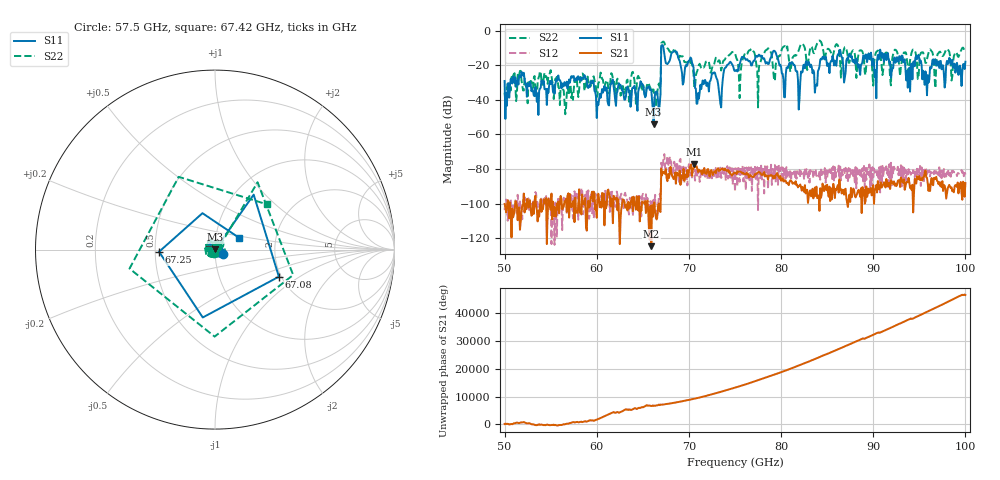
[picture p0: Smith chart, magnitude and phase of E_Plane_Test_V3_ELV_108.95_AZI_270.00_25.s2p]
! 11/26/2026 4:15:56 PM
! C:\ANRITSUVNA\TEMP\TEMP.S2P
! CHANNEL.1
! TR.MEASUREMENT
! RAW.DATA
# HZ S RI R 50.0
! FREQ.HZ  S11RE  S11IM  S21RE  S21IM  S12RE  S12IM  S22RE  S22IM
!; PortSelection: Port_12
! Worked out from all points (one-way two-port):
!   601 points, 50 GHz to 100 GHz, reference 50 ohm
!   highest |S21| = -77.01 dB at 70.58 GHz (marker M1); lowest = -124.7 dB at 65.92 GHz (marker M2)
!   lowest |S11| = -54.1 dB at 66.17 GHz (marker M3), VSWR 1.00, Z = 50.1 + j0.142 ohm
!   |S11| at or under -10 dB: start of sweep to 67 GHz; 67.24 GHz to end of sweep
!   |S22| runs from -48.3 to -5.6 dB; largest |S21 - S12| = 0.00027
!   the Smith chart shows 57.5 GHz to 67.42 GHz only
!   S11 on the Smith chart (normalised r, x): 57.5 GHz: 1.09, -0.05; 67.08 GHz: 1.94, -0.69; 67.25 GHz: 0.52, -0.01; 67.42 GHz: 1.29, +0.18
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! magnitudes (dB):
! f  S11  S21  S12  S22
! 50 GHz  -29.0  -100.3  -103.8  -35.8
! 51.67 GHz  -26.3  -115.1  -97.8  -23.2
! 57.5 GHz  -26.2  -98.3  -99.4  -34.6
! 58.42 GHz  -27.2  -94.7  -91.8  -24.7
! 60.17 GHz  -43.0  -94.3  -95.2  -30.4
! 65.92 GHz  -34.3  -124.7  -108.8  -34.8
! 66.17 GHz  -54.1  -102.2  -96.8  -34.0
! 66.67 GHz  -41.5  -100.7  -100.1  -31.6
! 67.08 GHz  -8.3  -83.7  -79.9  -6.8
! 67.25 GHz  -10.1  -82.4  -74.0  -6.2
! 67.42 GHz  -16.5  -82.9  -79.4  -8.3
! 70.58 GHz  -27.2  -77.0  -82.8  -33.0
! 73.42 GHz  -42.3  -80.6  -79.2  -19.7
! 75 GHz  -23.3  -82.4  -93.2  -13.0
! 79.25 GHz  -11.5  -83.9  -84.5  -28.9
! 80.25 GHz  -28.0  -87.2  -86.5  -9.3
! 83.42 GHz  -24.6  -91.5  -80.6  -10.8
! 91.67 GHz  -16.8  -88.1  -91.5  -15.2
! 93.75 GHz  -32.9  -87.7  -84.3  -21.3
! 94.83 GHz  -15.0  -85.7  -83.8  -27.9
! 95.83 GHz  -37.3  -85.1  -84.0  -16.5
! 100 GHz  -17.9  -88.1  -83.2  -12.6
